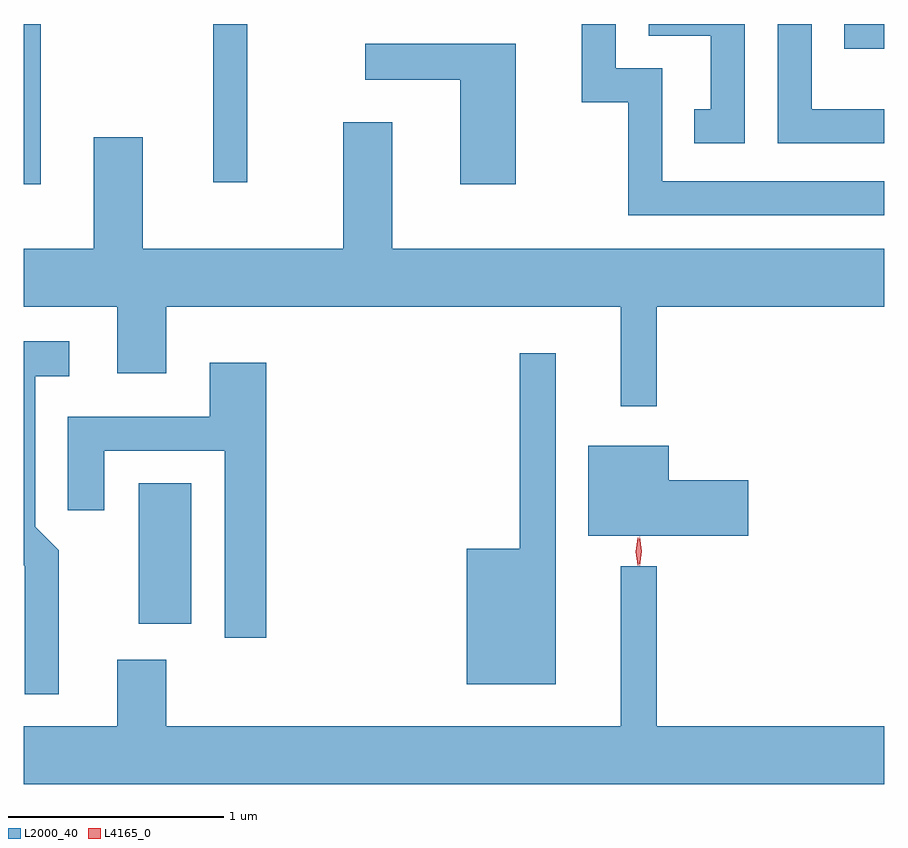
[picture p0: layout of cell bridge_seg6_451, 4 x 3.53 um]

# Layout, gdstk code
import gdstk
lib = gdstk.Library(unit=1e-6, precision=1e-09)
def R(c, l, rs):  # rectangles x0, y0, x1, y1
    for r in rs: c.add(gdstk.rectangle(r[:2], r[2:], *l))
def P(c, l, *ps):  # polygons
    for p in ps: c.add(gdstk.Polygon(p, *l))
L2000_40 = (2000, 40)
L4165_0 = (4165, 0)

bridge_seg6_451 = lib.new_cell('bridge_seg6_451')
R(bridge_seg6_451, L2000_40, [(676.641,1581.861,676.884,1582.514), (676.106,1583.906,676.184,1584.65), (676.986,1583.913,677.144,1584.65), (679.921,1584.536,680.106,1584.65)])
P(bridge_seg6_451, L2000_40, [(680.106,1584.254),(679.769,1584.254),(679.769,1584.65),(679.611,1584.65),(679.611,1584.096),(680.106,1584.096)],
  [(679.459,1584.65),(679.011,1584.65),(679.011,1584.596),(679.301,1584.596),(679.301,1584.254),(679.223,1584.254),(679.223,1584.096),(679.459,1584.096)],
  [(680.106,1583.919),(679.074,1583.919),(679.074,1584.444),(678.859,1584.444),(678.859,1584.65),(678.701,1584.65),(678.701,1584.286),(678.916,1584.286),(678.916,1583.761),(680.106,1583.761)],
  [(678.394,1584.559),(677.693,1584.559),(677.693,1584.391),(678.136,1584.391),(678.136,1583.906),(678.394,1583.906)],
  [(679.049,1583.336),(680.106,1583.336),(680.106,1583.604),(677.819,1583.604),(677.819,1584.194),(677.591,1584.194),(677.591,1583.604),(676.659,1583.604),(676.659,1584.124),(676.431,1584.124),(676.431,1583.604),(676.106,1583.604),(676.106,1583.336),(676.541,1583.336),(676.541,1583.026),(676.769,1583.026),(676.769,1583.336),(678.881,1583.336),(678.881,1582.873),(679.049,1582.873)],
  [(676.269,1582.202),(676.159,1582.312),(676.159,1583.011),(676.318,1583.011),(676.318,1583.174),(676.106,1583.174),(676.106,1582.134),(676.111,1582.129),(676.111,1581.533),(676.269,1581.533)],
  [(678.579,1583.118),(678.411,1583.118),(678.411,1582.209),(678.166,1582.209),(678.166,1581.581),(678.579,1581.581)],
  [(677.234,1583.074),(676.971,1583.074),(676.971,1582.824),(676.311,1582.824),(676.311,1582.388),(676.479,1582.388),(676.479,1582.666),(677.041,1582.666),(677.041,1581.796),(677.234,1581.796)],
  [(679.474,1582.529),(679.104,1582.529),(679.104,1582.689),(678.731,1582.689),(678.731,1582.271),(679.474,1582.271)],
  [(680.106,1581.384),(679.049,1581.384),(679.049,1582.128),(678.881,1582.128),(678.881,1581.384),(676.769,1581.384),(676.769,1581.694),(676.541,1581.694),(676.541,1581.384),(676.106,1581.384),(676.106,1581.116),(680.106,1581.116)])
P(bridge_seg6_451, L4165_0, [(678.962,1582.133),(678.961,1582.134),(678.951,1582.196),(678.961,1582.26),(678.961,1582.26),(678.962,1582.26),(678.971,1582.196),(678.962,1582.134)],
  [(678.969,1582.13),(678.96,1582.198),(678.969,1582.265),(678.97,1582.266),(678.97,1582.265),(678.98,1582.198),(678.97,1582.13),(678.97,1582.13)])

lib.write_gds('bridge_seg6_451.gds')
